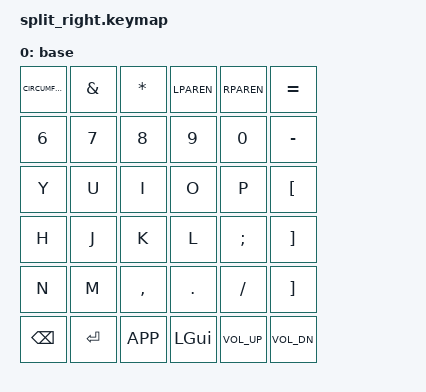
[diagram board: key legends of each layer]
/* split_right.keymap */

#include <dt-bindings/zmk/bt.h>

 / {
    keymap {
        compatible = "zmk,keymap";
        layers = <&base>;

        base {
            bindings = <
                /* R0 = ^ & * ( ) + = */
                &kp CIRCUMFLEX  &kp AMPERSAND  &kp ASTERISK  &kp LPAREN  &kp RPAREN  &kp EQUAL
                /* R1 = 6 7 8 9 0 - */
                &kp N6          &kp N7         &kp N8        &kp N9       &kp N0       &kp MINUS
                /* R2 = Y U I O P [ */
                &kp Y           &kp U          &kp I         &kp O        &kp P        &kp LBKT
                /* R3 = H J K L ; ] */
                &kp H           &kp J          &kp K         &kp L        &kp SEMI     &kp RBKT
                /* R4 = N M , . / */  
                &kp N           &kp M          &kp COMMA     &kp DOT      &kp SLASH    &kp RBKT /* if slash and bracket share? adjust */
                /* R5 thumb cluster */
                &kp BSPC       &kp ENTER      &kp APP       &kp LGUI     &kp C_VOL_UP  &kp C_VOL_DN
            >;
        };
    };
};
